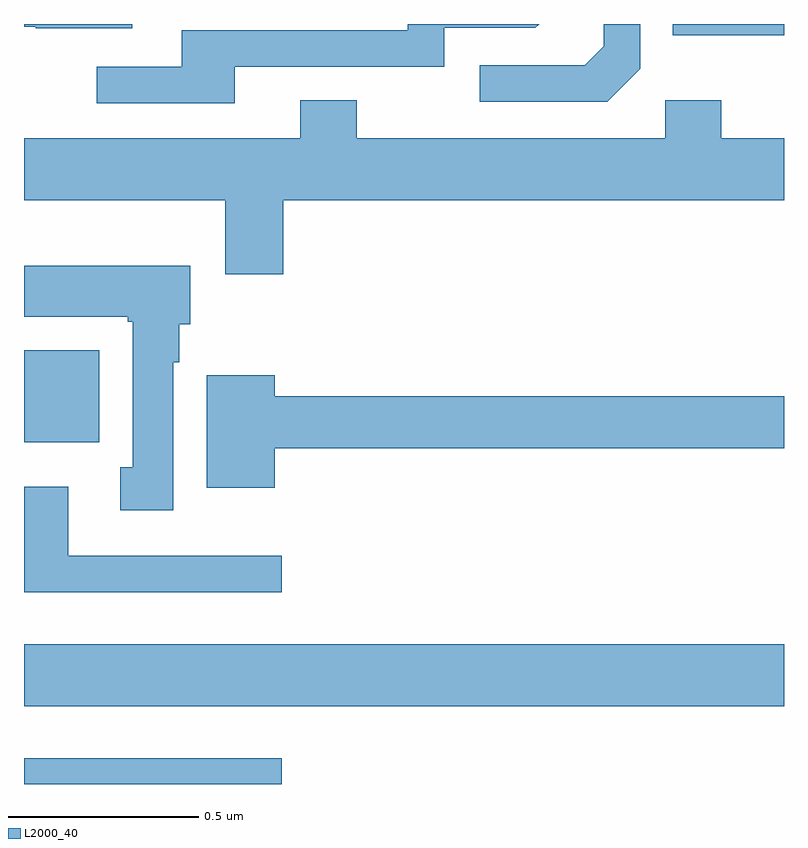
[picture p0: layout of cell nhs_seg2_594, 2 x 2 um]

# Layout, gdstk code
import gdstk
lib = gdstk.Library(unit=1e-6, precision=1e-09)
def R(c, l, rs):  # rectangles x0, y0, x1, y1
    for r in rs: c.add(gdstk.rectangle(r[:2], r[2:], *l))
def P(c, l, *ps):  # polygons
    for p in ps: c.add(gdstk.Polygon(p, *l))
L2000_40 = (2000, 40)

nhs_seg2_594 = lib.new_cell('nhs_seg2_594')
R(nhs_seg2_594, L2000_40, [(118,612.8,118.678,612.868), (118,613.004,120,613.168), (118.001,613.7,118.198,613.942), (119.707,614.771,120,614.8)])
P(nhs_seg2_594, L2000_40, [(118.555,614.688),(119.106,614.688),(119.106,614.79),(119.346,614.79),(119.356,614.8),(119.01,614.8),(119.01,614.784),(118.415,614.784),(118.415,614.688),(118.191,614.688),(118.191,614.592),(118.555,614.592)],
  [(119.622,614.682),(119.622,614.8),(119.526,614.8),(119.526,614.742),(119.475,614.691),(119.199,614.691),(119.199,614.595),(119.535,614.595)],
  [(118.285,614.8),(118,614.8),(118,614.793),(118.031,614.793),(118.031,614.789),(118.285,614.789)],
  [(118.682,614.336),(120,614.336),(120,614.5),(119.835,614.5),(119.835,614.599),(119.688,614.599),(119.688,614.5),(118.875,614.5),(118.875,614.599),(118.727,614.599),(118.727,614.5),(118,614.5),(118,614.336),(118.529,614.336),(118.529,614.142),(118.682,614.142)],
  [(118.393,613.91),(118.408,613.91),(118.408,614.01),(118.438,614.01),(118.438,614.164),(118,614.164),(118,614.03),(118.273,614.03),(118.273,614.017),(118.286,614.017),(118.286,613.634),(118.253,613.634),(118.253,613.521),(118.393,613.521)],
  [(118.66,613.684),(120,613.684),(120,613.82),(118.66,613.82),(118.66,613.876),(118.481,613.876),(118.481,613.58),(118.66,613.58)],
  [(118.678,613.401),(118.117,613.401),(118.117,613.582),(118,613.582),(118,613.304),(118.678,613.304)])

lib.write_gds('nhs_seg2_594.gds')
